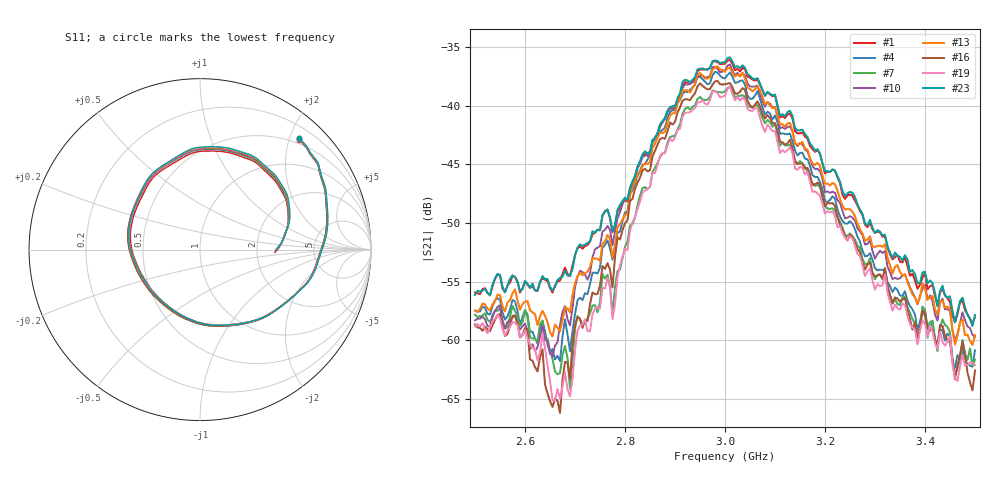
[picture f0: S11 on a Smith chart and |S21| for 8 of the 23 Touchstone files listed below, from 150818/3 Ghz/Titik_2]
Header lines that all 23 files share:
# Hz S RI R 50
! CMT, C1220, 16058040, 17.2.0/1
! Data: Format (Calibration Info)
! Freq  S11: Re/Im (F2)  S21: Re/Im (F2)  S12: Re/Im (F2)  S22: Re/Im (F2)
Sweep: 2.5 GHz to 3.5 GHz
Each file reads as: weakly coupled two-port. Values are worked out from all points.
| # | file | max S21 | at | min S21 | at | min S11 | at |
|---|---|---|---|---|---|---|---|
| 1 | Sudut_0_Titik_2.s2p | -36.10 dB | 3.01 GHz | -58.6 dB | 3.495 GHz | -8.7 dB | 2.99 GHz |
| 2 | Sudut_10_Titik_2.s2p | -35.53 dB | 3.01 GHz | -58.2 dB | 3.46 GHz | -8.7 dB | 2.99 GHz |
| 3 | Sudut_30_Titik_2.s2p | -35.35 dB | 3.005 GHz | -57.6 dB | 2.655 GHz | -8.6 dB | 2.99 GHz |
| 4 | Sudut_60_Titik_2.s2p | -37.11 dB | 2.98 GHz | -62.4 dB | 3.46 GHz | -8.5 dB | 2.99 GHz |
| 5 | Sudut_70_Titik_2.s2p | -37.80 dB | 2.98 GHz | -63.8 dB | 3.46 GHz | -8.5 dB | 2.99 GHz |
| 6 | Sudut_90_Titik_2.s2p | -38.42 dB | 3.01 GHz | -64.3 dB | 3.46 GHz | -8.5 dB | 2.99 GHz |
| 7 | Sudut_100_Titik_2.s2p | -38.38 dB | 3.01 GHz | -64.2 dB | 2.69 GHz | -8.4 dB | 2.99 GHz |
| 8 | Sudut_110_Titik_2.s2p | -38.30 dB | 3.01 GHz | -62.9 dB | 2.69 GHz | -8.5 dB | 2.99 GHz |
| 9 | Sudut_120_Titik_2.s2p | -37.52 dB | 3.01 GHz | -62.6 dB | 2.655 GHz | -8.6 dB | 2.99 GHz |
| 10 | Sudut_140_Titik_2.s2p | -36.49 dB | 3.01 GHz | -61.4 dB | 2.655 GHz | -8.6 dB | 2.99 GHz |
| 11 | Sudut_160_Titik_2.s2p | -36.12 dB | 3.01 GHz | -60.1 dB | 3.46 GHz | -8.6 dB | 2.99 GHz |
| 12 | Sudut_170_Titik_2.s2p | -36.24 dB | 3.01 GHz | -60.3 dB | 3.495 GHz | -8.6 dB | 2.99 GHz |
| 13 | Sudut_190_Titik_2.s2p | -36.64 dB | 2.985 GHz | -60.4 dB | 3.495 GHz | -8.6 dB | 2.99 GHz |
| 14 | Sudut_200_Titik_2.s2p | -36.95 dB | 2.985 GHz | -60.7 dB | 3.46 GHz | -8.5 dB | 2.99 GHz |
| 15 | Sudut_210_Titik_2.s2p | -37.25 dB | 2.985 GHz | -61.6 dB | 2.65 GHz | -8.5 dB | 2.99 GHz |
| 16 | Sudut_230_Titik_2.s2p | -37.88 dB | 2.985 GHz | -66.2 dB | 2.67 GHz | -8.4 dB | 2.99 GHz |
| 17 | Sudut_240_Titik_2.s2p | -38.27 dB | 2.98 GHz | -65.7 dB | 2.655 GHz | -8.4 dB | 2.99 GHz |
| 18 | Sudut_260_Titik_2.s2p | -38.72 dB | 3.01 GHz | -65.1 dB | 3.46 GHz | -8.5 dB | 2.99 GHz |
| 19 | Sudut_280_Titik_2.s2p | -38.35 dB | 3.01 GHz | -65.2 dB | 2.66 GHz | -8.6 dB | 2.985 GHz |
| 20 | Sudut_310_Titik_2.s2p | -37.37 dB | 3.01 GHz | -64.7 dB | 2.655 GHz | -8.6 dB | 2.985 GHz |
| 21 | Sudut_330_Titik_2.s2p | -36.82 dB | 3.01 GHz | -63.1 dB | 3.46 GHz | -8.5 dB | 2.99 GHz |
| 22 | Sudut_350_Titik_2.s2p | -36.29 dB | 3.01 GHz | -60.4 dB | 3.495 GHz | -8.6 dB | 2.99 GHz |
| 23 | Sudut_360_Titik_2.s2p | -35.87 dB | 3.01 GHz | -58.8 dB | 3.495 GHz | -8.6 dB | 2.99 GHz |
